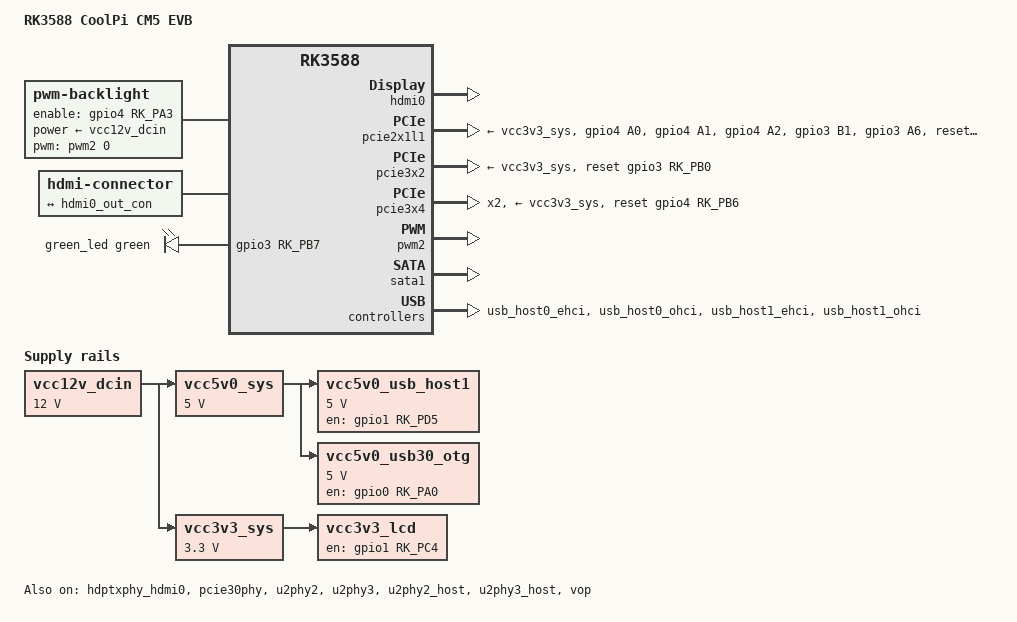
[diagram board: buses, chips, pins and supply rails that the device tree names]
// SPDX-License-Identifier: (GPL-2.0+ OR MIT)
/*
 * Copyright (c) 2023 Rockchip Electronics Co., Ltd.
 *
 */

/dts-v1/;

#include <dt-bindings/leds/common.h>
#include <dt-bindings/soc/rockchip,vop2.h>
#include "rk3588-coolpi-cm5.dtsi"

/ {
	model = "RK3588 CoolPi CM5 EVB";
	compatible = "coolpi,pi-cm5-evb", "coolpi,pi-cm5", "rockchip,rk3588";

	backlight: backlight {
		compatible = "pwm-backlight";
		enable-gpios = <&gpio4 RK_PA3 GPIO_ACTIVE_HIGH>;
		pinctrl-names = "default";
		pinctrl-0 = <&bl_en>;
		power-supply = <&vcc12v_dcin>;
		pwms = <&pwm2 0 25000 0>;
	};

	hdmi-con {
		compatible = "hdmi-connector";
		type = "a";

		port {
			hdmi_con_in: endpoint {
				remote-endpoint = <&hdmi0_out_con>;
			};
		};
	};

	leds: leds {
		compatible = "gpio-leds";

		green_led: led-0 {
			color = <LED_COLOR_ID_GREEN>;
			function = LED_FUNCTION_STATUS;
			gpios = <&gpio3 RK_PB7 GPIO_ACTIVE_HIGH>;
			linux,default-trigger = "heartbeat";
		};
	};

	vcc12v_dcin: regulator-vcc12v-dcin {
		compatible = "regulator-fixed";
		regulator-name = "vcc12v_dcin";
		regulator-always-on;
		regulator-boot-on;
		regulator-min-microvolt = <12000000>;
		regulator-max-microvolt = <12000000>;
	};

	vcc5v0_sys: regulator-vcc5v0-sys {
		compatible = "regulator-fixed";
		regulator-name = "vcc5v0_sys";
		regulator-always-on;
		regulator-boot-on;
		regulator-min-microvolt = <5000000>;
		regulator-max-microvolt = <5000000>;
		vin-supply = <&vcc12v_dcin>;
	};

	vcc3v3_sys: regulator-vcc3v3-sys {
		compatible = "regulator-fixed";
		regulator-name = "vcc3v3_sys";
		regulator-always-on;
		regulator-boot-on;
		regulator-min-microvolt = <3300000>;
		regulator-max-microvolt = <3300000>;
		vin-supply = <&vcc12v_dcin>;
	};

	vcc3v3_lcd: regulator-vcc3v3-lcd {
		compatible = "regulator-fixed";
		regulator-name = "vcc3v3_lcd";
		enable-active-high;
		gpio = <&gpio1 RK_PC4 GPIO_ACTIVE_HIGH>;
		pinctrl-names = "default";
		pinctrl-0 = <&lcdpwr_en>;
		vin-supply = <&vcc3v3_sys>;
	};

	vcc5v0_usb_host1: vcc5v0_usb_host2: regulator-vcc5v0-usb-host {
		compatible = "regulator-fixed";
		regulator-name = "vcc5v0_host";
		regulator-boot-on;
		regulator-always-on;
		enable-active-high;
		regulator-min-microvolt = <5000000>;
		regulator-max-microvolt = <5000000>;
		gpio = <&gpio1 RK_PD5 GPIO_ACTIVE_HIGH>;
		pinctrl-names = "default";
		pinctrl-0 = <&usb_host_pwren>;
		vin-supply = <&vcc5v0_sys>;
	};

	vcc5v0_usb30_otg: regulator-vcc5v0-usb30-otg {
		compatible = "regulator-fixed";
		regulator-name = "vcc5v0_otg";
		regulator-boot-on;
		regulator-always-on;
		enable-active-high;
		regulator-min-microvolt = <5000000>;
		regulator-max-microvolt = <5000000>;
		gpios = <&gpio0 RK_PA0 GPIO_ACTIVE_HIGH>;
		pinctrl-names = "default";
		pinctrl-0 = <&usb_otg_pwren>;
		vin-supply = <&vcc5v0_sys>;
	};
};

&hdmi0 {
	status = "okay";
};

&hdmi0_in {
	hdmi0_in_vp0: endpoint {
		remote-endpoint = <&vp0_out_hdmi0>;
	};
};

&hdmi0_out {
	hdmi0_out_con: endpoint {
		remote-endpoint = <&hdmi_con_in>;
	};
};

&hdptxphy_hdmi0 {
	status = "okay";
};

/* M.2 E-Key */
&pcie2x1l1 {
	reset-gpios = <&gpio4 RK_PA2 GPIO_ACTIVE_HIGH>;
	vpcie3v3-supply = <&vcc3v3_sys>;
	pinctrl-names = "default";
	pinctrl-0 = <&pcie_clkreq &pcie_wake &pcie_rst &wifi_pwron &bt_pwron>;
	status = "okay";
};

&pcie30phy {
	status = "okay";
};

/* Standard pcie */
&pcie3x2 {
	reset-gpios = <&gpio3 RK_PB0 GPIO_ACTIVE_HIGH>;
	vpcie3v3-supply = <&vcc3v3_sys>;
	status = "okay";
};

/* M.2 M-Key ssd */
&pcie3x4 {
	num-lanes = <2>;
	reset-gpios = <&gpio4 RK_PB6 GPIO_ACTIVE_HIGH>;
	vpcie3v3-supply = <&vcc3v3_sys>;
	status = "okay";
};

&pinctrl {
	lcd {
		lcdpwr_en: lcdpwr-en {
			rockchip,pins = <1 RK_PC4 RK_FUNC_GPIO &pcfg_pull_down>;
		};

		bl_en: bl-en {
			rockchip,pins = <4 RK_PA3 RK_FUNC_GPIO &pcfg_pull_none>;
		};
	};

	usb {
		usb_host_pwren: usb-host-pwren {
			rockchip,pins = <1 RK_PD5 RK_FUNC_GPIO &pcfg_pull_up>;
		};

		usb_otg_pwren: usb-otg-pwren {
			rockchip,pins = <0 RK_PA0 RK_FUNC_GPIO &pcfg_pull_up>;
		};
	};

	wifi {
		bt_pwron: bt-pwron {
			rockchip,pins = <3 RK_PA6 RK_FUNC_GPIO &pcfg_pull_up>;
		};

		pcie_clkreq: pcie-clkreq {
			rockchip,pins = <4 RK_PA0 RK_FUNC_GPIO &pcfg_pull_up>;
		};

		pcie_rst: pcie-rst {
			rockchip,pins = <4 RK_PA2 RK_FUNC_GPIO &pcfg_pull_up>;
		};

		wifi_pwron: wifi-pwron {
			rockchip,pins = <3 RK_PB1 RK_FUNC_GPIO &pcfg_pull_up>;
		};

		pcie_wake: pcie-wake {
			rockchip,pins = <4 RK_PA1 RK_FUNC_GPIO &pcfg_pull_up>;
		};
	};
};

&pwm2 {
	status = "okay";
};

&sata1 {
	status = "okay";
};

&u2phy2 {
	status = "okay";
};

&u2phy3 {
	status = "okay";
};

&u2phy2_host {
	phy-supply = <&vcc5v0_usb_host1>;
	status = "okay";
};

&u2phy3_host {
	phy-supply = <&vcc5v0_usb_host2>;
	status = "okay";
};

&usb_host0_ehci {
	status = "okay";
};

&usb_host0_ohci {
	status = "okay";
};

&usb_host1_ehci {
	status = "okay";
};

&usb_host1_ohci {
	status = "okay";
};

&vop {
	status = "okay";
};

&vop_mmu {
	status = "okay";
};

&vp0 {
	vp0_out_hdmi0: endpoint@ROCKCHIP_VOP2_EP_HDMI0 {
		reg = <ROCKCHIP_VOP2_EP_HDMI0>;
		remote-endpoint = <&hdmi0_in_vp0>;
	};
};
